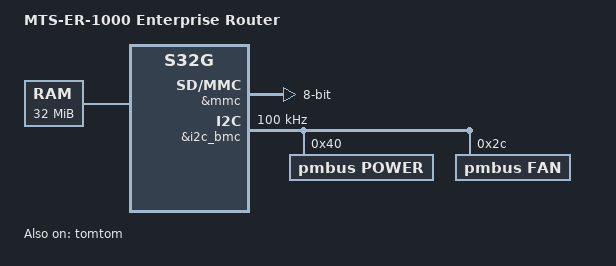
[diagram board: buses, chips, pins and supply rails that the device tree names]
/*
 * Device Tree for MTS-ER-1000 Enterprise Router
 * NXP S32G + Broadcom TomTom
 */

/dts-v1/;
/include/ "nxp/s32g.dtsi"
/include/ "broadcom/tomtom.dtsi"

/ {
    model = "MTS-ER-1000 Enterprise Router";
    compatible = "mts,er1000", "nxp,s32g";

    chosen {
        bootargs = "console=ttyS0,115200n8 root=/dev/mmcblk0p2 rw";
        stdout-path = "serial:0";
    };

    memory {
        reg = <0x00000000 0x00000000 0x00000000 0x02000000>; /* 32MB base */
    };

    /* SoC */
    s32g: cpu@0 {
        compatible = "nxp,s32g";
        num-cores = <8>;
        architecture = "arm64";
        clock-frequency = <2000000000>;
        status = "okay";
    };

    /* ASIC */
    tomtom: asic@1 {
        compatible = "broadcom,tomtom";
        reg = <0x00000000 0x00001000>;
        interrupts = <0 42 4>;
        num-tables = <4096>;
        max-entries = <1048576>;
        status = "okay";
    };

    /* Ethernet ports */
    &eth {
        status = "okay";
        num-ports = <12>;
        wan-ports = <4>;
        lan-ports = <8>;
    };

    /* eMMC storage */
    &mmc {
        status = "okay";
        bus-width = <8>;
        max-frequency = <52000000>;
    };

    /* Crypto */
    &sec {
        status = "okay";
        ipsec-engine = <1>;
        tls-engine = <1>;
    };

    /* I2C for management */
    &i2c_bmc {
        status = "okay";
        clock-frequency = <100000>;

        power@40 {
            compatible = "pmbus,power";
            reg = <0x40>;
        };

        fan@2c {
            compatible = "pmbus,fan";
            reg = <0x2c>;
        };
    };
};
